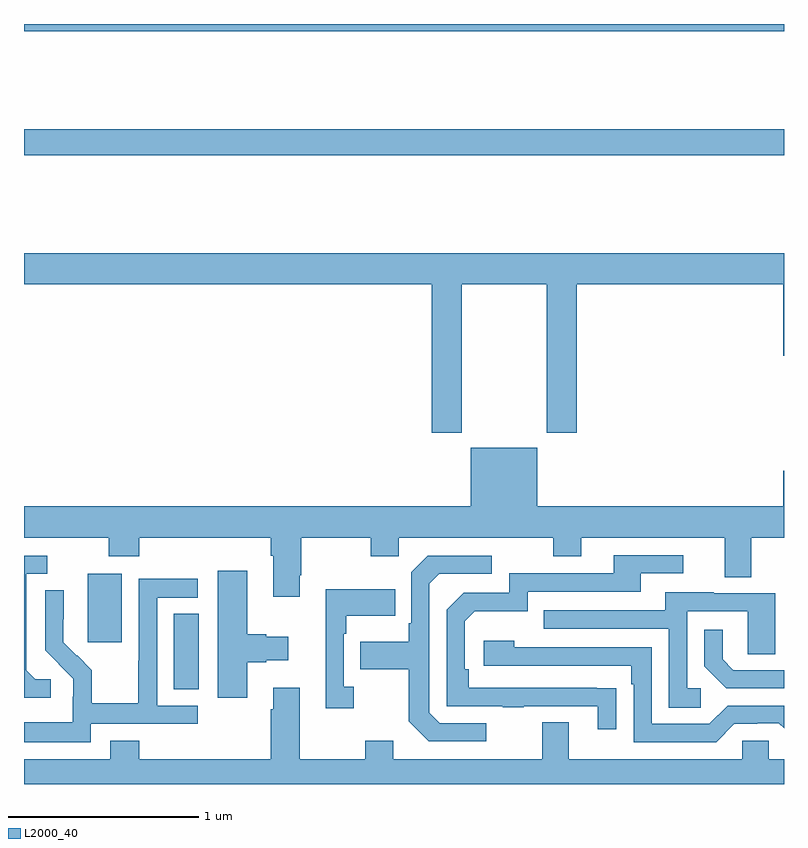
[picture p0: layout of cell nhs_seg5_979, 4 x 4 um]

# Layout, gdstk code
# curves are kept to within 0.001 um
import gdstk
lib = gdstk.Library(unit=1e-6, precision=1e-09)
def R(c, l, rs):  # rectangles x0, y0, x1, y1
    for r in rs: c.add(gdstk.rectangle(r[:2], r[2:], *l))
def P(c, l, *ps):  # polygons
    for p in ps: c.add(gdstk.Polygon(p, *l))
L2000_40 = (2000, 40)

nhs_seg5_979 = lib.new_cell('nhs_seg5_979')
R(nhs_seg5_979, L2000_40, [(173.789,853.297,173.92,853.694), (173.336,853.545,173.515,853.906), (173,856.108,177,856.244), (173,856.76,177,856.799)])
P(nhs_seg5_979, L2000_40, [(175.305,855.428),(175.75,855.428),(175.75,854.649),(175.91,854.649),(175.91,855.428),(176.996,855.428),(176.996,855.054),(177,855.054),(177,855.592),(173,855.592),(173,855.428),(175.145,855.428),(175.145,854.649),(175.305,854.649)],
  [(175.702,854.569),(175.352,854.569),(175.352,854.26),(173,854.26),(173,854.096),(173.446,854.096),(173.446,853.997),(173.606,853.997),(173.606,854.096),(174.299,854.096),(174.299,854),(174.311,854),(174.311,853.785),(174.451,853.785),(174.451,853.897),(174.459,853.897),(174.459,854.096),(174.826,854.096),(174.826,853.997),(174.972,853.997),(174.972,854.096),(175.786,854.096),(175.786,853.997),(175.933,853.997),(175.933,854.096),(176.687,854.096),(176.687,853.888),(176.827,853.888),(176.827,854.096),(177,854.096),(177,854.449),(176.996,854.449),(176.996,854.26),(175.702,854.26)],
  [(176.117,853.304),(175.34,853.305),(175.34,853.402),(175.32,853.402),(175.32,853.656),(175.373,853.709),(175.65,853.709),(175.65,853.812),(176.245,853.812),(176.245,853.908),(176.47,853.908),(176.47,854.004),(176.105,854.004),(176.105,853.908),(175.554,853.908),(175.554,853.806),(175.314,853.806),(175.224,853.716),(175.224,853.209),(175.519,853.209),(175.519,853.204),(175.631,853.204),(175.631,853.209),(176.021,853.209),(176.021,853.086),(176.117,853.086)],
  [(173.14,853.35),(173.058,853.35),(173.011,853.397),(173.011,853.905),(173.122,853.905),(173.122,854.001),(173,854.001),(173,853.253),(173.14,853.253)],
  [(175.432,853.119),(175.188,853.119),(175.134,853.173),(175.134,853.854),(175.185,853.905),(175.462,853.905),(175.462,854.001),(175.125,854.001),(175.038,853.914),(175.038,853.645),(175.026,853.645),(175.026,853.549),(174.769,853.549),(174.769,853.402),(175.026,853.402),(175.026,853.129),(175.131,853.023),(175.432,853.023)],
  [(174.175,853.439),(174.275,853.439),(174.275,853.451),(174.391,853.451),(174.391,853.573),(174.275,853.573),(174.275,853.586),(174.175,853.586),(174.175,853.921),(174.02,853.921),(174.02,853.254),(174.175,853.254)],
  [(173.352,853.116),(173.914,853.116),(173.914,853.212),(173.7,853.212),(173.7,853.779),(173.914,853.779),(173.914,853.878),(173.604,853.878),(173.604,853.448),(173.602,853.448),(173.602,853.225),(173.357,853.225),(173.357,853.399),(173.28,853.476),(173.277,853.473),(173.207,853.544),(173.208,853.82),(173.112,853.82),(173.112,853.502),(173.258,853.354),(173.258,853.257),(173.256,853.257),(173.256,853.123),(173,853.123),(173,853.019),(173.352,853.019)],
  [(174.736,853.31),(174.684,853.31),(174.684,853.589),(174.697,853.589),(174.697,853.685),(174.953,853.685),(174.953,853.825),(174.587,853.825),(174.587,853.197),(174.736,853.197)],
  [(176.563,853.302),(176.49,853.302),(176.49,853.707),(176.808,853.707),(176.808,853.483),(176.953,853.483),(176.953,853.803),(176.629,853.803),(176.629,853.807),(176.375,853.807),(176.375,853.713),(175.735,853.713),(175.735,853.617),(176.394,853.617),(176.394,853.201),(176.563,853.201)],
  [(177,853.398),(176.734,853.398),(176.677,853.455),(176.677,853.612),(176.58,853.612),(176.58,853.418),(176.696,853.302),(177,853.302)],
  [(176.739,853.116),(176.858,853.116),(176.858,853.119),(176.973,853.119),(177,853.092),(177,853.212),(176.703,853.212),(176.607,853.116),(176.304,853.116),(176.304,853.518),(175.58,853.518),(175.58,853.552),(175.419,853.552),(175.419,853.422),(176.195,853.422),(176.195,853.325),(176.208,853.325),(176.208,853.02),(176.643,853.02)],
  [(177,852.928),(176.919,852.928),(176.919,853.026),(176.781,853.026),(176.781,852.928),(175.867,852.928),(175.867,853.123),(175.727,853.123),(175.727,852.928),(174.943,852.928),(174.943,853.027),(174.796,853.027),(174.796,852.928),(174.451,852.928),(174.451,853.306),(174.311,853.306),(174.311,853.193),(174.299,853.193),(174.299,852.928),(173.606,852.928),(173.606,853.027),(173.453,853.027),(173.453,852.928),(173,852.928),(173,852.799),(177,852.799)])

lib.write_gds('nhs_seg5_979.gds')
